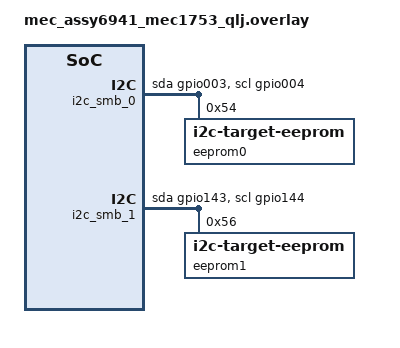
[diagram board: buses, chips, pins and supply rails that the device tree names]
/*
 * Copyright (c) 2026 Microchip Technology Inc.
 *
 * SPDX-License-Identifier: Apache-2.0
 */

/* mec_assy6941 EVB
 * JP15 7-8 GPIO004 as I2C00_SCL
 * JP15 4-5 GPIO003 as I2C00_SDA
 * JP27 31-32 GPIO004 as I2C00_SCL
 * JP27 34-35 GPIO003 as I2C00_SDA
 *
 * JP20 1-2 GPIO144 as I2C04_SCL
 * JP20 4-5 GPIO143 as I2C04_SDA
 * JP21 13-14 GPIO144 as I2C04_SCL
 * JP21 25-26 GPIO143 as I2C04_SDA
 *
 * JP70 19-20 ON enable 7.5K pull-up to VTR1
 * JP70 21-22 ON enable 7.5K pull-up to VTR1
 * JP71 25-26 OFF no 7.5K pull-up
 * JP71 27-28 OFF no 7.5K pull-up
 * I2C Port 0
 *   J12 1x6
 *	pin 1 = I2C00_SCL/GPIO004
 *	pin 2 = GND
 *	pin 3 = I2C00_SDA/GPIO003
 *	pin 4 = GND
 *	pin 5 = VTR1
 *	pin 6 = GND
 * I2C Port 4
 *   J17 1x6
 *	pin 1 = I2C04_SCL/GPIO144
 *	pin 2 = GND
 *	pin 3 = I2C04_SDA/GPIO143
 *	pin 4 = GND
 *	pin 5 = VTR1
 *	pin 6 = GND
 */
&i2c_smb_0 {
	compatible = "microchip,xec-i2c-v2";
	port-sel = <0>;
	pinctrl-0 = <&i2c00_sda_gpio003 &i2c00_scl_gpio004>;
	pinctrl-names = "default";
	scl-gpios = <MCHP_GPIO_DECODE_004 GPIO_OPEN_DRAIN>;
	sda-gpios = <MCHP_GPIO_DECODE_003 GPIO_OPEN_DRAIN>;
	status = "okay";

	eeprom0: eeprom@54 {
		compatible = "zephyr,i2c-target-eeprom";
		reg = <0x54>;
		address-width = <16>;
		size = <1024>;
	};
};

&i2c_smb_1 {
	compatible = "microchip,xec-i2c-v2";
	port-sel = <4>;
	pinctrl-0 = <&i2c04_sda_gpio143 &i2c04_scl_gpio144>;
	pinctrl-names = "default";
	scl-gpios = <MCHP_GPIO_DECODE_144 GPIO_OPEN_DRAIN>;
	sda-gpios = <MCHP_GPIO_DECODE_143 GPIO_OPEN_DRAIN>;
	status = "okay";

	eeprom1: eeprom@56 {
		compatible = "zephyr,i2c-target-eeprom";
		reg = <0x56>;
		address-width = <16>;
		size = <1024>;
	};
};

&i2c00_sda_gpio003 {
	drive-open-drain;
};

&i2c00_scl_gpio004 {
	drive-open-drain;
};

&i2c04_sda_gpio143 {
	drive-open-drain;
};

&i2c04_scl_gpio144 {
	drive-open-drain;
};
